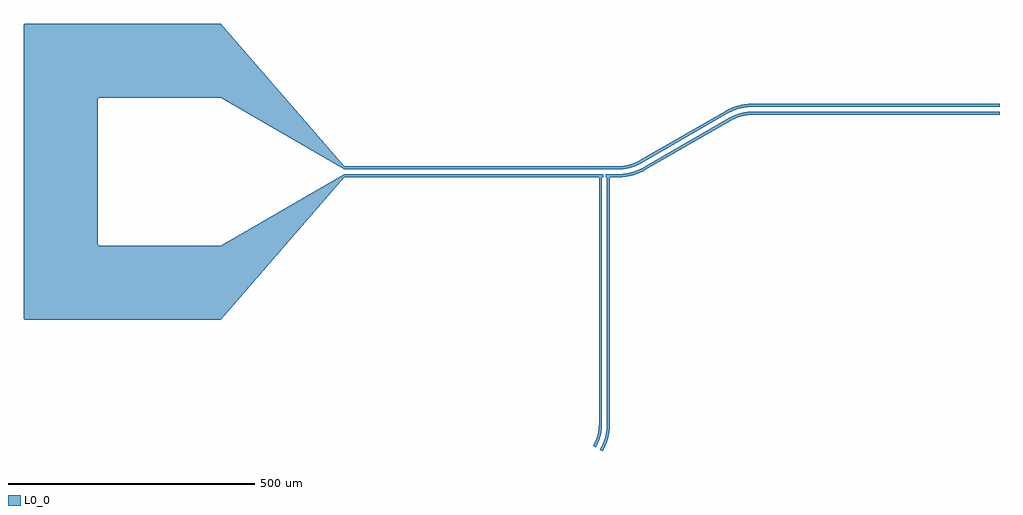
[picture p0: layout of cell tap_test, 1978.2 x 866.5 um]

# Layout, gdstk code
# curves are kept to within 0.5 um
import gdstk
lib = gdstk.Library(unit=1e-6, precision=1e-09)
def R(c, l, rs):  # rectangles x0, y0, x1, y1
    for r in rs: c.add(gdstk.rectangle(r[:2], r[2:], *l))
def P(c, l, *ps):  # polygons
    for p in ps: c.add(gdstk.Polygon(p, *l))
L0_0 = (0, 0)

tap_test = lib.new_cell('tap_test')
R(tap_test, L0_0, [(1166.5,-511,1172.5,-11), (1182.5,-511,1188.5,-11), (155,-300,400,-150), (650,-11,1150,-5), (1150,-11,1175,-5), (1180,-11,1205,-5), (650,5,1150,11), (1150,5,1205,11), (1478.205,115.795,1978.205,121.795), (1478.205,131.795,1978.205,137.795), (155,150,400,300)])
P(tap_test, L0_0, [(1182.5,-511),(1181.603,-524.699),(1178.9,-538.257),(1174.499,-551.201),(1168.433,-563.5),(1173.629,-566.5),(1182.035,-548.328),(1187.078,-528.711),(1188.5,-511)],
  [(1166.5,-511),(1165.739,-522.612),(1163.449,-534.104),(1159.718,-545.076),(1154.576,-555.5),(1159.772,-558.5),(1167.275,-542.072),(1171.548,-524.418),(1172.5,-511)],
  [(155,-300),(155,-150),(151.516,-148.587),(150,-145),(150,145.054),(151.413,148.484),(155,150),(155,300),(3.811,299.857),(1.146,298.186),(0,295.054),(0.143,-296.189),(1.814,-298.854),(4.946,-300)],
  [(400,150),(650,5),(650,11),(400,300)],
  [(400,-300),(650,-11),(650,-5),(400,-150)],
  [(1205,5),(1217.394,5.812),(1229.661,8.257),(1241.373,12.239),(1252.5,17.728),(1249.5,22.924),(1239.076,17.782),(1228.104,14.051),(1216.612,11.761),(1205,11)],
  [(1205,-11),(1219.482,-10.051),(1233.815,-7.195),(1247.499,-2.542),(1260.5,3.871),(1257.5,9.067),(1245.201,3.001),(1232.257,-1.4),(1218.699,-4.103),(1205,-5)],
  [(1252.5,17.728),(1425.705,117.728),(1422.705,122.924),(1249.5,22.924)],
  [(1260.5,3.871),(1433.705,103.871),(1430.705,109.067),(1257.5,9.067)],
  [(1425.705,117.728),(1438.018,123.8),(1451.11,128.239),(1464.521,130.899),(1478.205,131.795),(1478.205,137.795),(1458.265,135.989),(1438.754,130.548),(1422.705,122.924)],
  [(1433.705,103.871),(1444.141,109.018),(1455.239,112.781),(1466.606,115.036),(1478.205,115.795),(1478.205,121.795),(1460.226,120.078),(1442.801,114.951),(1430.705,109.067)])

lib.write_gds('tap_test.gds')
